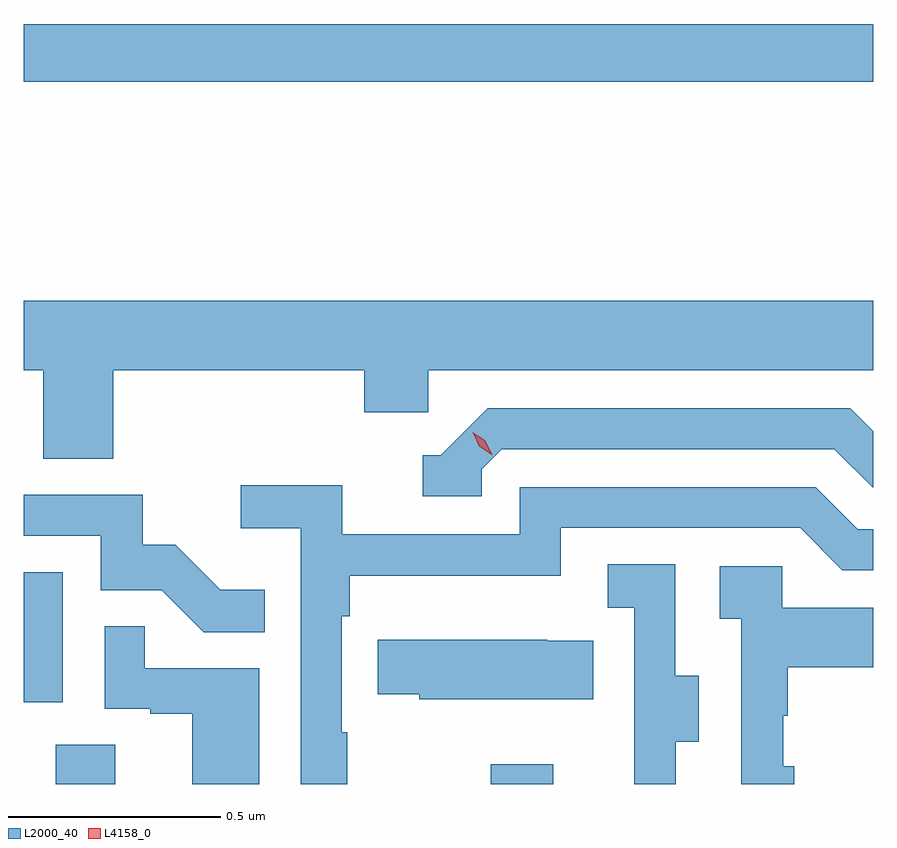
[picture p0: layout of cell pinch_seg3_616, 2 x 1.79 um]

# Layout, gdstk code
import gdstk
lib = gdstk.Library(unit=1e-6, precision=1e-09)
def R(c, l, rs):  # rectangles x0, y0, x1, y1
    for r in rs: c.add(gdstk.rectangle(r[:2], r[2:], *l))
def P(c, l, *ps):  # polygons
    for p in ps: c.add(gdstk.Polygon(p, *l))
L2000_40 = (2000, 40)
L4158_0 = (4158, 0)

pinch_seg3_616 = lib.new_cell('pinch_seg3_616')
R(pinch_seg3_616, L2000_40, [(1045.475,702.606,1045.615,702.698), (1046.5,702.606,1046.647,702.652), (1045.4,702.798,1045.492,703.105), (1045.4,704.26,1047.4,704.396)])
P(pinch_seg3_616, L2000_40, [(1045.61,703.58),(1046.201,703.58),(1046.201,703.482),(1046.352,703.482),(1046.352,703.58),(1047.4,703.58),(1047.4,703.744),(1045.4,703.744),(1045.4,703.58),(1045.445,703.58),(1045.445,703.372),(1045.61,703.372)],
  [(1046.478,703.347),(1046.526,703.395),(1047.309,703.395),(1047.4,703.304),(1047.4,703.437),(1047.346,703.491),(1046.493,703.491),(1046.382,703.38),(1046.339,703.38),(1046.339,703.284),(1046.478,703.284)],
  [(1046.161,702.728),(1046.148,702.728),(1046.148,703.001),(1046.168,703.001),(1046.168,703.097),(1046.664,703.097),(1046.664,703.209),(1047.228,703.209),(1047.327,703.11),(1047.4,703.11),(1047.4,703.206),(1047.364,703.206),(1047.265,703.305),(1046.568,703.305),(1046.568,703.194),(1046.15,703.194),(1046.15,703.31),(1045.911,703.31),(1045.911,703.208),(1046.052,703.208),(1046.052,702.606),(1046.161,702.606)],
  [(1045.967,703.063),(1045.863,703.063),(1045.756,703.17),(1045.68,703.17),(1045.68,703.287),(1045.4,703.287),(1045.4,703.191),(1045.581,703.191),(1045.581,703.062),(1045.725,703.062),(1045.823,702.964),(1045.967,702.964)],
  [(1046.935,702.706),(1046.989,702.706),(1046.989,702.861),(1046.934,702.861),(1046.934,703.124),(1046.775,703.124),(1046.775,703.021),(1046.838,703.021),(1046.838,702.717),(1046.837,702.717),(1046.837,702.606),(1046.935,702.606)],
  [(1047.214,702.648),(1047.189,702.648),(1047.189,702.767),(1047.199,702.767),(1047.199,702.881),(1047.4,702.881),(1047.4,703.021),(1047.186,703.021),(1047.186,703.119),(1047.039,703.119),(1047.039,702.995),(1047.09,702.995),(1047.09,702.606),(1047.214,702.606)],
  [(1045.954,702.879),(1045.685,702.879),(1045.685,702.977),(1045.59,702.977),(1045.59,702.783),(1045.697,702.783),(1045.697,702.771),(1045.796,702.771),(1045.796,702.606),(1045.954,702.606)],
  [(1046.741,702.943),(1046.633,702.943),(1046.633,702.946),(1046.233,702.946),(1046.233,702.817),(1046.331,702.817),(1046.331,702.806),(1046.741,702.806)])
P(pinch_seg3_616, L4158_0, [(1046.502,703.382),(1046.472,703.402),(1046.457,703.435),(1046.457,703.435),(1046.457,703.435),(1046.487,703.415),(1046.503,703.382),(1046.503,703.382)])

lib.write_gds('pinch_seg3_616.gds')
